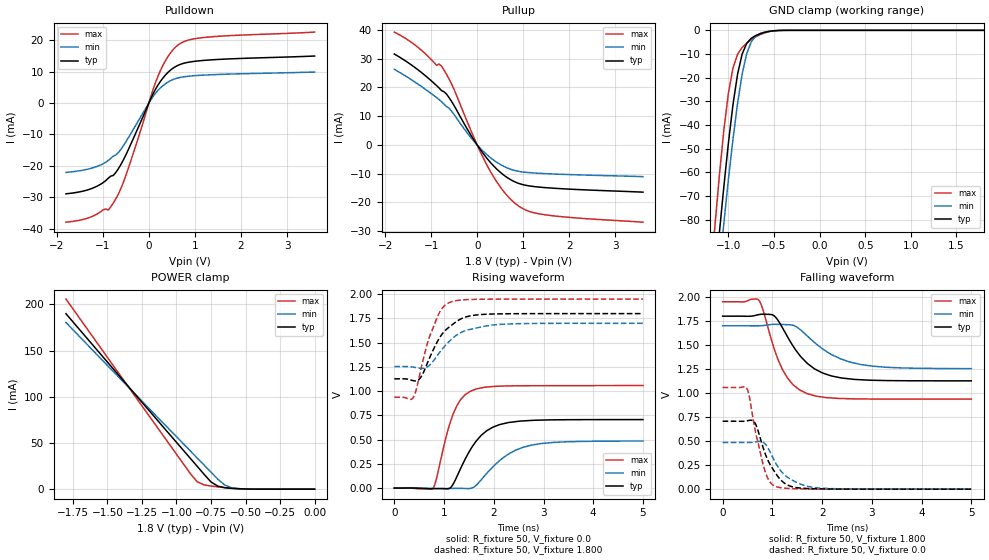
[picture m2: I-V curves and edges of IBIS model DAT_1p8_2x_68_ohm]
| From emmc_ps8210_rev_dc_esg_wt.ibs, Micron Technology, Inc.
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|   Model DAT_1p8_2x_68_ohm
[Model]   DAT_1p8_2x_68_ohm
Model_type   I/O
Vinl   = 0.68V
Vinh   = 1.11V
Vmeas  = 0.90V
|   typ   min   max
C_comp   5.490pF   5.000pF   5.930pF
[Voltage Range]   1.800V   1.700V   1.950V
| Junction Temperature (Ambient temp is 35C typ, 85C min, -25C max)
[Temperature Range]   50.0   100.0   -25.0
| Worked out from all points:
|   slope of the pulldown table from 0 to 0.27 V, typ, clamps not added: 37.2 ohm
|   slope of the pullup table from 0 to 0.27 V, typ, clamps not added: 47 ohm
|   GND clamp passes 1 mA (typ) near -0.62 V on its own axis
|   POWER clamp passes 1 mA (typ) near -0.61 V on its own axis
|   rising waveform, R_fixture 50, V_fixture 0.0: 20-80 % time 518ps typ, 662ps min, 356ps max; typ from 0 V to 0.707 V
|   falling waveform, R_fixture 50, V_fixture 1.800: 20-80 % time 604ps typ, 774ps min, 453ps max; typ from 1.8 V to 1.13 V
|   rising waveform, R_fixture 50, V_fixture 1.800: 20-80 % time 472ps typ, 533ps min, 354ps max; typ from 1.13 V to 1.8 V
|   falling waveform, R_fixture 50, V_fixture 0.0: 20-80 % time 360ps typ, 436ps min, 263ps max; typ from 0.707 V to 0 V
[Pulldown]
|   Voltage   I(typ)   I(min)   I(max)
-1.8V     -28.84mA   -22.05mA   -37.87mA
-1.26V    -27.27mA   -20.77mA   -36.21mA
-990mV    -25.26mA   -19.27mA   -33.9mA
-882mV    -23.91mA   -18.26mA   -34.01mA
-774mV    -23.04mA   -16.9mA    -31.8mA
-504mV    -16.63mA   -12.45mA   -23.21mA
198mV     5.7mA      4.014mA    8.521mA
414mV     9.724mA    6.659mA    14.75mA
630mV     11.96mA    7.966mA    18.4mA
846mV     12.92mA    8.492mA    19.95mA
1.278V    13.64mA    8.936mA    20.94mA
3.6V      14.94mA    9.847mA    22.54mA
[GND_clamp]
|   Voltage   I(typ)   I(min)   I(max)
-1.8V     -423.5mA   -425.5mA   -421.7mA
-1.15V    -106.9mA   -121.7mA   -83.42mA
-1.1V     -85.79mA   -101.1mA   -61.61mA
-1.05V    -65.86mA   -81.43mA   -42.03mA
-1V       -47.53mA   -62.91mA   -26.45mA
-950mV    -31.34mA   -45.93mA   -15.87mA
-900mV    -18.56mA   -30.95mA   -10.14mA
-850mV    -10.08mA   -18.57mA   -7.26mA
-800mV    -5.518mA   -9.883mA   -5.408mA
-700mV    -2.184mA   -2.431mA   -2.753mA
-450mV    -66.35uA   -50.69uA   -70.78uA
1.8V      83.71pA    4.239nA    14.85pA
[Pullup]
|   Voltage   I(typ)   I(min)   I(max)
-1.8V     31.64mA    26.34mA    39.26mA
-1.314V   26.5mA     21.47mA    34.32mA
-882mV    20.66mA    16.49mA    27.72mA
-774mV    18.91mA    15.03mA    27.39mA
-612mV    16.51mA    12.82mA    22.98mA
-126mV    3.157mA    2.354mA    4.642mA
252mV     -5.418mA   -3.933mA   -8.209mA
576mV     -10.46mA   -7.419mA   -16.18mA
846mV     -13.02mA   -8.995mA   -20.6mA
1.116V    -14.19mA   -9.594mA   -23.02mA
1.494V    -14.85mA   -9.97mA    -24.32mA
3.6V      -16.4mA    -11.01mA   -26.85mA
[POWER_clamp]
|   Voltage   I(typ)   I(min)   I(max)
-1.8V     189.8mA    180.3mA    205.7mA
-900mV    33.36mA    41.43mA    16.88mA
-850mV    24.71mA    33.74mA    7.997mA
-800mV    16.03mA    26.04mA    4.596mA
-750mV    7.762mA    18.34mA    3.354mA
-700mV    3.218mA    10.64mA    2.457mA
-650mV    1.558mA    4.403mA    1.681mA
-600mV    854.9uA    1.541mA    1.032mA
-500mV    194.5uA    191.2uA    217.2uA
0V        83.62pA    270.5pA    20.77pA
[Ramp]
|   typ   min   max
dV/dt_r   424.02m/518.14p   291.43m/663.35p   634.60m/355.24p
dV/dt_f   403.84m/604.57p   267.57m/775.51p   608.03m/453.77p
R_load = 50
[Rising Waveform]
R_fixture = 50
V_fixture = 0.0
|   Time   V(typ)   V(min)   V(max)
0s        10.5nV     28.21nV    4.156nV
780ps     -6.089mV   -3.552mV   -781.8uV
840ps     -5.44mV    -4.306mV   82.8mV
1.08ns    -7.296mV   -4.34mV    600.3mV
1.18ns    37.87mV    -3.691mV   760.4mV
1.34ns    208.8mV    -3.586mV   916.8mV
1.54ns    404.6mV    -3.168mV   1.002V
1.98ns    627.9mV    217.7mV    1.048V
2.59ns    692.7mV    421mV      1.056V
5ns       706.5mV    485.2mV    1.058V
[Falling Waveform]
R_fixture   = 50
V_fixture   = 1.800
V_fixture_min = 1.700
V_fixture_max = 1.950
|   Time   V(typ)   V(min)   V(max)
0s        1.8V       1.7V       1.95V
720ps     1.816V     1.699V     1.97V
800ps     1.82V      1.702V     1.884V
1.02ns    1.809V     1.715V     1.488V
1.21ns    1.673V     1.714V     1.238V
1.42ns    1.486V     1.705V     1.085V
1.69ns    1.315V     1.6V       995.7mV
2.18ns    1.179V     1.403V     949.3mV
2.77ns    1.139V     1.298V     939mV
5ns       1.127V     1.254V     936.8mV
[Rising Waveform]
R_fixture   = 50
V_fixture   = 1.800
V_fixture_min = 1.700
V_fixture_max = 1.950
|   Time   V(typ)   V(min)   V(max)
0s        1.127V     1.254V     936.6mV
390ps     1.107V     1.247V     942.4mV
450ps     1.107V     1.241V     1.032V
540ps     1.148V     1.235V     1.235V
710ps     1.343V     1.268V     1.565V
920ps     1.558V     1.406V     1.822V
1.11ns    1.663V     1.516V     1.915V
1.43ns    1.764V     1.624V     1.944V
2.03ns    1.796V     1.685V     1.949V
5ns       1.8V       1.7V       1.95V
[Falling Waveform]
R_fixture = 50
V_fixture = 0.0
|   Time   V(typ)   V(min)   V(max)
0s        706.7mV    485.7mV    1.058V
490ps     711mV      485.3mV    1.046V
540ps     716.1mV    485.6mV    953.1mV
640ps     697.2mV    490.5mV    652.6mV
830ps     407.6mV    483.6mV    226.5mV
940ps     270.4mV    401.3mV    83.22mV
1.06ns    169.5mV    277.7mV    29.68mV
1.33ns    36.98mV    114.9mV    7.395mV
1.84ns    4.34mV     17.7mV     1.354mV
5ns       35.43uV    42.37uV    34.77uV
